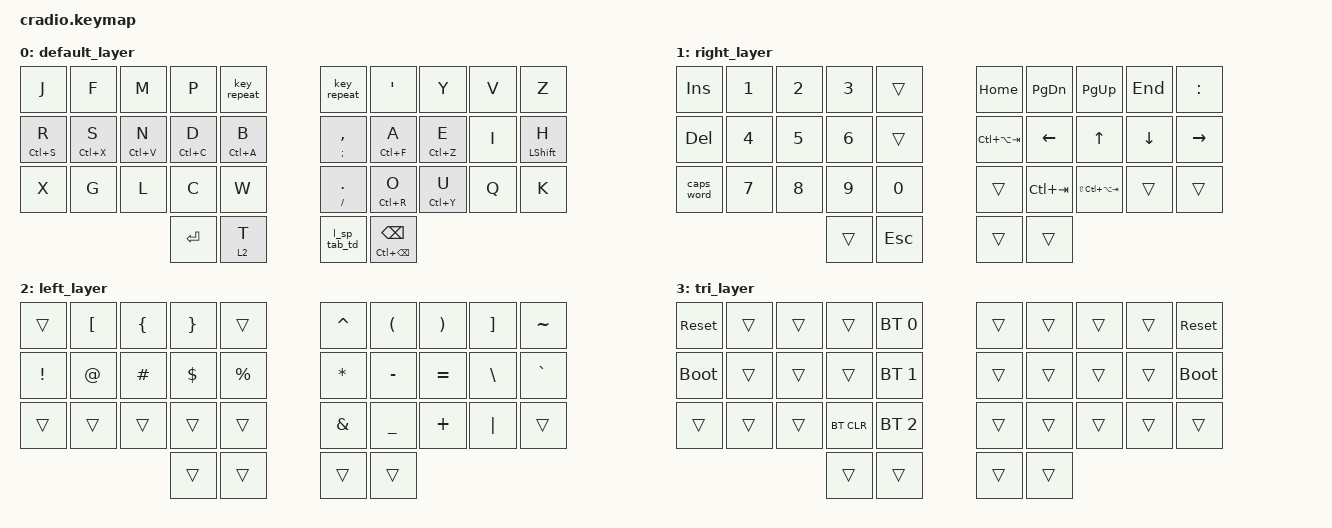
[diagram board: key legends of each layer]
// Copyright (c) 2022 The ZMK Contributors
// SPDX-License-Identifier: MIT

#include <behaviors.dtsi>
#include <dt-bindings/zmk/bt.h>
#include <dt-bindings/zmk/keys.h>

/ {
    behaviors {
        ht: hold_tap {
            compatible = "zmk,behavior-hold-tap";
            #binding-cells = <2>;
            flavor = "tap-preferred";
            tapping-term-ms = <220>;
            quick-tap-ms = <150>;
            require-prior-idle-ms = <100>;
            bindings = <&kp>, <&kp>;
        };

        l_sp_tab_td: l_sp_tab_td {
            compatible = "zmk,behavior-tap-dance";
            label = "L_SP_TAB_TD";
            #binding-cells = <0>;
            bindings = <&lt 1 SPACE>, <&kp TAB>;

            tapping-term-ms = <200>;
        };

        h_caps_td: h_caps_td {
            compatible = "zmk,behavior-tap-dance";
            label = "H_CAPS_TD";
            #binding-cells = <0>;
            bindings = <&kp H>, <&sk LSHIFT>;
        };

        sl_ht: sl_ht {
            compatible = "zmk,behavior-hold-tap";
            label = "SL_HT";
            bindings = <&sl>, <&kp>;

            #binding-cells = <2>;
            tapping-term-ms = <150>;
            flavor = "tap-preferred";
        };

        sk_ht: sk_ht {
            compatible = "zmk,behavior-hold-tap";
            label = "SK_HT";
            bindings = <&sk>, <&kp>;

            #binding-cells = <2>;
            tapping-term-ms = <150>;
            flavor = "tap-preferred";
        };
    };

    conditional_layers {
        compatible = "zmk,conditional-layers";

        tri_layer {
            if-layers = <1 2>;
            then-layer = <3>;
        };
    };

    keymap {
        compatible = "zmk,keymap";

        default_layer {
            bindings = <
&kp J        &kp F        &kp M        &kp P        &key_repeat    &key_repeat       &kp SINGLE_QUOTE        &kp Y        &kp V  &kp Z
&ht LC(S) R  &ht LC(X) S  &ht LC(V) N  &ht LC(C) D  &ht LC(A) B    &ht SEMI COMMA    &ht LC(F) A             &ht LC(Z) E  &kp I  &sk_ht LEFT_SHIFT H
&kp X        &kp G        &kp L        &kp C        &kp W          &ht SLASH PERIOD  &ht LC(R) O             &ht LC(Y) U  &kp Q  &kp K
                                       &kp ENTER    &sl_ht 2 T     &l_sp_tab_td      &ht LC(BACKSPACE) BSPC
            >;
        };

        right_layer {
            bindings = <
&kp INS     &kp N1  &kp N2  &kp N3  &trans     &kp HOME         &kp PG_DN    &kp PG_UP            &kp END   &kp COLON
&kp DEL     &kp N4  &kp N5  &kp N6  &trans     &kp LC(LA(TAB))  &kp LEFT     &kp UP_ARROW         &kp DOWN  &kp RIGHT
&caps_word  &kp N7  &kp N8  &kp N9  &kp N0     &trans           &kp LC(TAB)  &kp LS(LC(LA(TAB)))  &trans    &trans
                            &trans  &kp ESC    &trans           &trans
            >;
        };

        left_layer {
            bindings = <
&trans    &kp LBKT  &kp LBRC  &kp RBRC  &trans       &kp CARET  &kp LPAR   &kp RPAR   &kp RBKT  &kp TILDE
&kp EXCL  &kp AT    &kp HASH  &kp DLLR  &kp PRCNT    &kp ASTRK  &kp MINUS  &kp EQUAL  &kp BSLH  &kp GRAVE
&trans    &trans    &trans    &trans    &trans       &kp AMPS   &kp UNDER  &kp PLUS   &kp PIPE  &trans
                              &trans    &trans       &trans     &trans
            >;
        };

        tri_layer {
            bindings = <
&sys_reset   &trans  &trans  &trans      &bt BT_SEL 0    &trans  &trans  &trans  &trans  &sys_reset
&bootloader  &trans  &trans  &trans      &bt BT_SEL 1    &trans  &trans  &trans  &trans  &bootloader
&trans       &trans  &trans  &bt BT_CLR  &bt BT_SEL 2    &trans  &trans  &trans  &trans  &trans
                             &trans      &trans          &trans  &trans
            >;
        };
    };
};
